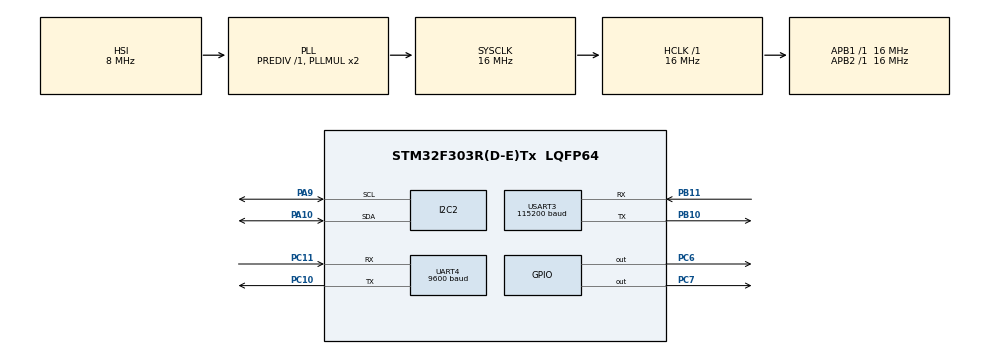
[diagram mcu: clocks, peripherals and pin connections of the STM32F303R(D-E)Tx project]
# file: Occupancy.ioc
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I2C2.Speed=50
I2C2.Timing=0x00101D7C
IWDG.Prescaler=IWDG_PRESCALER_256
Mcu.Family=STM32F3
Mcu.Name=STM32F303R(D-E)Tx
Mcu.Package=LQFP64
NVIC.I2C2_EV_IRQn=true\:0\:0\:false
NVIC.PriorityGroup=NVIC_PRIORITYGROUP_4
NVIC.TIM2_IRQn=true\:0\:0\:false
NVIC.TIM3_IRQn=true\:0\:0\:false
NVIC.UART4_IRQn=true\:0\:0\:false
NVIC.USART3_IRQn=true\:0\:0\:false
PA10.Mode=I2C
PA10.Signal=I2C2_SDA
PA9.Mode=I2C
PA9.Signal=I2C2_SCL
PB10.Mode=Asynchronous
PB10.Signal=USART3_TX
PB11.Mode=Asynchronous
PB11.Signal=USART3_RX
PC10.Mode=Asynchronous
PC10.Signal=UART4_TX
PC11.Mode=Asynchronous
PC11.Signal=UART4_RX
PC6.GPIO_PuPd=GPIO_PULLUP
PC6.Signal=GPIO_Output
PC7.GPIO_PuPd=GPIO_PULLUP
PC7.Signal=GPIO_Output
ProjectManager.TargetToolchain=MDK-ARM V5
RCC.AHBFreq_Value=16000000
RCC.APB1Freq_Value=16000000
RCC.APB1TimFreq_Value=16000000
RCC.APB2Freq_Value=16000000
RCC.APB2TimFreq_Value=16000000
RCC.CortexFreq_Value=16000000
RCC.HCLKFreq_Value=16000000
RCC.HSE_VALUE=8000000
RCC.HSI_VALUE=8000000
RCC.LSE_VALUE=32768
RCC.SYSCLKFreq_VALUE=16000000
RCC.SYSCLKSourceVirtual=RCC_SYSCLKSOURCE_PLLCLK
RCC.USBFreq_Value=16000000
TIM2.Period=250
TIM2.Prescaler=63
TIM3.Period=250
TIM3.Prescaler=63
UART4.BaudRate=9600
USART3.BaudRate=115200
USART3.WordLength=UART_WORDLENGTH_8B
VP_IWDG_VS_IWDG.Mode=IWDG_Activate
VP_TIM2_VS_ClockSourceINT.Mode=Internal
VP_TIM3_VS_ClockSourceINT.Mode=Internal
board=Occupancy

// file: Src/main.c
/*

28-09-17
Initialised UART2 for GUI @ 115200 baud rate

-------------------------------------------------------

Amg8834 thermal sensor ( Panasonic )  --- I2C2
Omega 	--- UART4

 */
#include "stm32f3xx_hal.h"
#include "var.h"
#include "defs.h"

I2C_HandleTypeDef hi2c2;

IWDG_HandleTypeDef hiwdg;

TIM_HandleTypeDef htim2;
TIM_HandleTypeDef htim3;

UART_HandleTypeDef huart4;
UART_HandleTypeDef huart3;

/* USER CODE BEGIN PV */
/* Private variables ---------------------------------------------------------*/

/* USER CODE END PV */

void SystemClock_Config(void);
static void MX_GPIO_Init(void);
static void MX_I2C2_Init(void);
static void MX_IWDG_Init(void);
static void MX_TIM2_Init(void);
static void MX_TIM3_Init(void);
static void MX_UART4_Init(void);
static void MX_USART3_UART_Init(void);

/* USER CODE BEGIN PFP */
/* Private function prototypes -----------------------------------------------*/

/* USER CODE END PFP */

/* USER CODE BEGIN 0 */
extern void Analyse_serial_data(void);
extern void Read_thermal_sensor(void);
extern void Init_thermal_sensor(void);

extern void Send_data_2_gui(void);

void Get_value(void);
int D6T_checkPEC(int pPEC);
unsigned char calc_crc( unsigned char data );
void Cpy_sensor_vals(void);
unsigned char c;
/* USER CODE END 0 */

int main(void)
{

  /* MCU Configuration----------------------------------------------------------*/

  /* Reset of all peripherals, Initializes the Flash interface and the Systick. */
  HAL_Init();

  /* Configure the system clock */
  SystemClock_Config();

  /* Initialize all configured peripherals */
  MX_GPIO_Init();
  MX_I2C2_Init();
  MX_IWDG_Init();
  MX_TIM2_Init();
  MX_TIM3_Init();
  MX_UART4_Init();
  MX_USART3_UART_Init();

  /* USER CODE BEGIN 2 */
	HAL_TIM_Base_Init(&htim2);
	HAL_TIM_Base_Start_IT(&htim2);

	HAL_UART_Receive_IT(&huart4,&Rx_data, 0xFFFF);
	HAL_UART_Receive_IT(&huart3,&Rx_data3, 0xFFFF);

	HAL_GPIO_WritePin(GPIOC,GPIO_PIN_6,GPIO_PIN_SET);
	HAL_GPIO_WritePin(GPIOC,GPIO_PIN_7,GPIO_PIN_SET);
	Th_cmd[0] = 0x4C;

	HAL_IWDG_Start(&hiwdg);

	Init_thermal_sensor();
  /* USER CODE END 2 */

  /* Infinite loop */
  while (1)
  {

  /* USER CODE BEGIN 3 */

		if(Small_tick_over)
		{
			Small_tick_over=0;

			HAL_IWDG_Refresh(&hiwdg);

			if(Rx_led_timeout > 0)
			{
				Rx_led_timeout--;
				if(Rx_led_timeout == 0)
				{
					HAL_GPIO_WritePin(GPIOC,GPIO_PIN_7,GPIO_PIN_SET);
				}
			}
		}

		if(Half_sec_over)
		{
			Half_sec_over=0;
			HAL_GPIO_TogglePin(GPIOC,GPIO_PIN_6);
			//Read_thermal_sensor();
		}

		if(Ms100_over)
		{
			Ms100_over=0;
			Read_thermal_sensor();
			if(Gui_connection_status==CONNECTED)
			{
				Send_data_2_gui();
			}
		}

		if(One_sec_over)
		{
			One_sec_over=0;

		//	Get_value();
		//	Sensor_data_correct = D6T_checkPEC(Pec);

		//	if(Sensor_data_correct==0)
		//	{
		//		Cpy_sensor_vals();
		//	}
		}

		if(New_serial_data)
		{
			New_serial_data=0;
			Analyse_serial_data();
		}

  }
  /* USER CODE END 3 */

}

/** System Clock Configuration
*/
void SystemClock_Config(void)
{

  RCC_OscInitTypeDef RCC_OscInitStruct;
  RCC_ClkInitTypeDef RCC_ClkInitStruct;
  RCC_PeriphCLKInitTypeDef PeriphClkInit;

  RCC_OscInitStruct.OscillatorType = RCC_OSCILLATORTYPE_HSI|RCC_OSCILLATORTYPE_LSI;
  RCC_OscInitStruct.HSIState = RCC_HSI_ON;
  RCC_OscInitStruct.HSICalibrationValue = 16;
  RCC_OscInitStruct.LSIState = RCC_LSI_ON;
  RCC_OscInitStruct.PLL.PLLState = RCC_PLL_ON;
  RCC_OscInitStruct.PLL.PLLSource = RCC_PLLSOURCE_HSI;
  RCC_OscInitStruct.PLL.PLLMUL = RCC_PLL_MUL2;
  RCC_OscInitStruct.PLL.PREDIV = RCC_PREDIV_DIV1;
  HAL_RCC_OscConfig(&RCC_OscInitStruct);

  RCC_ClkInitStruct.ClockType = RCC_CLOCKTYPE_SYSCLK;
  RCC_ClkInitStruct.SYSCLKSource = RCC_SYSCLKSOURCE_PLLCLK;
  RCC_ClkInitStruct.AHBCLKDivider = RCC_SYSCLK_DIV1;
  RCC_ClkInitStruct.APB1CLKDivider = RCC_HCLK_DIV1;
  RCC_ClkInitStruct.APB2CLKDivider = RCC_HCLK_DIV1;
  HAL_RCC_ClockConfig(&RCC_ClkInitStruct, FLASH_LATENCY_0);

  PeriphClkInit.PeriphClockSelection = RCC_PERIPHCLK_USART3|RCC_PERIPHCLK_UART4
                              |RCC_PERIPHCLK_I2C2|RCC_PERIPHCLK_TIM2
                              |RCC_PERIPHCLK_TIM34;
  PeriphClkInit.Usart3ClockSelection = RCC_USART3CLKSOURCE_PCLK1;
  PeriphClkInit.Uart4ClockSelection = RCC_UART4CLKSOURCE_PCLK1;
  PeriphClkInit.I2c2ClockSelection = RCC_I2C2CLKSOURCE_HSI;
  PeriphClkInit.Tim2ClockSelection = RCC_TIM2CLK_HCLK;
  PeriphClkInit.Tim34ClockSelection = RCC_TIM34CLK_HCLK;
  HAL_RCCEx_PeriphCLKConfig(&PeriphClkInit);

  HAL_SYSTICK_Config(HAL_RCC_GetHCLKFreq()/1000);

  HAL_SYSTICK_CLKSourceConfig(SYSTICK_CLKSOURCE_HCLK);

  /* SysTick_IRQn interrupt configuration */
  HAL_NVIC_SetPriority(SysTick_IRQn, 0, 0);
}

/* I2C2 init function */
void MX_I2C2_Init(void)
{

  hi2c2.Instance = I2C2;
  hi2c2.Init.Timing = 0x00101D7C;
  hi2c2.Init.OwnAddress1 = 0;
  hi2c2.Init.AddressingMode = I2C_ADDRESSINGMODE_7BIT;
  hi2c2.Init.DualAddressMode = I2C_DUALADDRESS_DISABLED;
  hi2c2.Init.OwnAddress2 = 0;
  hi2c2.Init.OwnAddress2Masks = I2C_OA2_NOMASK;
  hi2c2.Init.GeneralCallMode = I2C_GENERALCALL_DISABLED;
  hi2c2.Init.NoStretchMode = I2C_NOSTRETCH_DISABLED;
  HAL_I2C_Init(&hi2c2);

    /**Configure Analogue filter
    */
  HAL_I2CEx_AnalogFilter_Config(&hi2c2, I2C_ANALOGFILTER_ENABLED);

}

/* IWDG init function */
void MX_IWDG_Init(void)
{

  hiwdg.Instance = IWDG;
  hiwdg.Init.Prescaler = IWDG_PRESCALER_256;
  hiwdg.Init.Window = 4095;
  hiwdg.Init.Reload = 4095;
  HAL_IWDG_Init(&hiwdg);

}

/* TIM2 init function */
void MX_TIM2_Init(void)
{

  TIM_ClockConfigTypeDef sClockSourceConfig;
  TIM_MasterConfigTypeDef sMasterConfig;

  htim2.Instance = TIM2;
  htim2.Init.Prescaler = 63;
  htim2.Init.CounterMode = TIM_COUNTERMODE_UP;
  htim2.Init.Period = 250;
  htim2.Init.ClockDivision = TIM_CLOCKDIVISION_DIV1;
  HAL_TIM_Base_Init(&htim2);

  sClockSourceConfig.ClockSource = TIM_CLOCKSOURCE_INTERNAL;
  HAL_TIM_ConfigClockSource(&htim2, &sClockSourceConfig);

  sMasterConfig.MasterOutputTrigger = TIM_TRGO_RESET;
  sMasterConfig.MasterSlaveMode = TIM_MASTERSLAVEMODE_DISABLE;
  HAL_TIMEx_MasterConfigSynchronization(&htim2, &sMasterConfig);

}

/* TIM3 init function */
void MX_TIM3_Init(void)
{

  TIM_ClockConfigTypeDef sClockSourceConfig;
  TIM_MasterConfigTypeDef sMasterConfig;

  htim3.Instance = TIM3;
  htim3.Init.Prescaler = 63;
  htim3.Init.CounterMode = TIM_COUNTERMODE_UP;
  htim3.Init.Period = 250;
  htim3.Init.ClockDivision = TIM_CLOCKDIVISION_DIV1;
  HAL_TIM_Base_Init(&htim3);

  sClockSourceConfig.ClockSource = TIM_CLOCKSOURCE_INTERNAL;
  HAL_TIM_ConfigClockSource(&htim3, &sClockSourceConfig);

  sMasterConfig.MasterOutputTrigger = TIM_TRGO_RESET;
  sMasterConfig.MasterSlaveMode = TIM_MASTERSLAVEMODE_DISABLE;
  HAL_TIMEx_MasterConfigSynchronization(&htim3, &sMasterConfig);

}

/* UART4 init function */
void MX_UART4_Init(void)
{

  huart4.Instance = UART4;
  huart4.Init.BaudRate = 9600;
  huart4.Init.WordLength = UART_WORDLENGTH_8B;
  huart4.Init.StopBits = UART_STOPBITS_1;
  huart4.Init.Parity = UART_PARITY_NONE;
  huart4.Init.Mode = UART_MODE_TX_RX;
  huart4.Init.HwFlowCtl = UART_HWCONTROL_NONE;
  huart4.Init.OverSampling = UART_OVERSAMPLING_16;
  huart4.Init.OneBitSampling = UART_ONEBIT_SAMPLING_DISABLED ;
  huart4.AdvancedInit.AdvFeatureInit = UART_ADVFEATURE_NO_INIT;
  HAL_UART_Init(&huart4);

}

/* USART3 init function */
void MX_USART3_UART_Init(void)
{

  huart3.Instance = USART3;
  huart3.Init.BaudRate = 115200;
  huart3.Init.WordLength = UART_WORDLENGTH_8B;
  huart3.Init.StopBits = UART_STOPBITS_1;
  huart3.Init.Parity = UART_PARITY_NONE;
  huart3.Init.Mode = UART_MODE_TX_RX;
  huart3.Init.HwFlowCtl = UART_HWCONTROL_NONE;
  huart3.Init.OverSampling = UART_OVERSAMPLING_16;
  huart3.Init.OneBitSampling = UART_ONEBIT_SAMPLING_DISABLED ;
  huart3.AdvancedInit.AdvFeatureInit = UART_ADVFEATURE_NO_INIT;
  HAL_UART_Init(&huart3);

}

/** Configure pins as
        * Analog
        * Input
        * Output
        * EVENT_OUT
        * EXTI
*/
void MX_GPIO_Init(void)
{

  GPIO_InitTypeDef GPIO_InitStruct;

  /* GPIO Ports Clock Enable */
  __GPIOB_CLK_ENABLE();
  __GPIOC_CLK_ENABLE();
  __GPIOA_CLK_ENABLE();

  /*Configure GPIO pins : PC6 PC7 */
  GPIO_InitStruct.Pin = GPIO_PIN_6|GPIO_PIN_7;
  GPIO_InitStruct.Mode = GPIO_MODE_OUTPUT_PP;
  GPIO_InitStruct.Pull = GPIO_PULLUP;
  GPIO_InitStruct.Speed = GPIO_SPEED_LOW;
  HAL_GPIO_Init(GPIOC, &GPIO_InitStruct);

}

/************************ (C) COPYRIGHT STMicroelectronics *****END OF FILE****/
